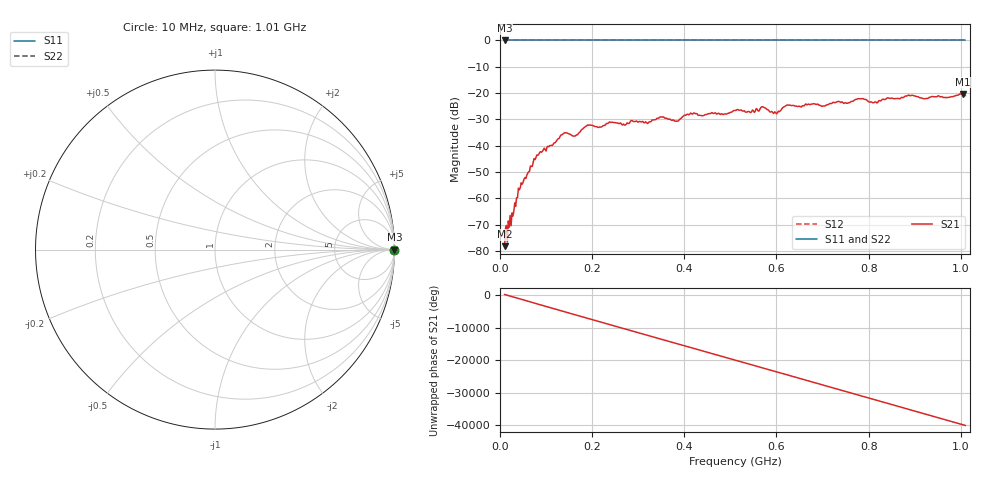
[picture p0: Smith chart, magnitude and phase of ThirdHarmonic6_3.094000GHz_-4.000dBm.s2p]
! 8/17/2025 9:06:26 AM
! C:\ANRITSUVNA\TEMP\TEMP.S2P
! CHANNEL.1
! TR.MEASUREMENT
! RAW.DATA
! RF.CORRECTION.OFF
! AVERAGING.OFF
! IF.BANDWIDTH: 5KHZ
! SWEEPTYPE:  FREQ.SWEEP(Linear)
! Reference Plane Port Info
! PORT:  PORT1  PORT2
! DISTANCE:  0  m  0  m
! TIME:  0  s  0  s
! PHASE.OFFSET:  0  deg.  0  deg.
! LOSS:  0  dB  0  dB
! REF.LOSS:  0  dB  0  dB
! REF.FREQ:  0  Hz  0  Hz
! Power Info
! POWER:  -20  dBm  -20  dBm
! EFF.POWER:  -20  dBm  -20  dBm
! SOURCE.ATTEN:  0  dB  0  dB
! TEST.ATTEN:  0  dB  0  dB
# GHZ S RI R 50.0
! FREQ.GHZ  S11RE  S11IM  S21RE  S21IM  S12RE  S12IM  S22RE  S22IM
!; PortSelection: Port_12
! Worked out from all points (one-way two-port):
!   501 points, 10 MHz to 1.01 GHz, reference 50 ohm
!   highest |S21| = -20.31 dB at 1.004 GHz (marker M1); lowest = -78.1 dB at 10 MHz (marker M2)
!   lowest |S11| = 0.0 dB at 10 MHz (marker M3)
!   |S11| at or under -10 dB: nowhere
!   |S22| runs from 0.0 to 0.0 dB; largest |S21 - S12| = 1.1
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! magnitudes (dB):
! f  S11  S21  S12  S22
! 10 MHz  0.0  -78.1  0.0  0.0
! 44 MHz  0.0  -55.9  0.0  0.0
! 78 MHz  0.0  -44.5  0.0  0.0
! 136 MHz  0.0  -35.6  0.0  0.0
! 164 MHz  0.0  -36.2  0.0  0.0
! 178 MHz  0.0  -33.7  0.0  0.0
! 192 MHz  0.0  -32.2  0.0  0.0
! 322 MHz  0.0  -31.2  0.0  0.0
! 344 MHz  0.0  -29.5  0.0  0.0
! 384 MHz  0.0  -30.6  0.0  0.0
! 418 MHz  0.0  -27.9  0.0  0.0
! 510 MHz  0.0  -26.5  0.0  0.0
! 570 MHz  0.0  -25.2  0.0  0.0
! 598 MHz  0.0  -27.3  0.0  0.0
! 624 MHz  0.0  -24.5  0.0  0.0
! 678 MHz  0.0  -24.1  0.0  0.0
! 702 MHz  0.0  -24.9  0.0  0.0
! 782 MHz  0.0  -22.1  0.0  0.0
! 814 MHz  0.0  -23.3  0.0  0.0
! 844 MHz  0.0  -21.9  0.0  0.0
! 1.004 GHz  0.0  -20.3  0.0  0.0
! 1.01 GHz  0.0  -20.9  0.0  0.0
